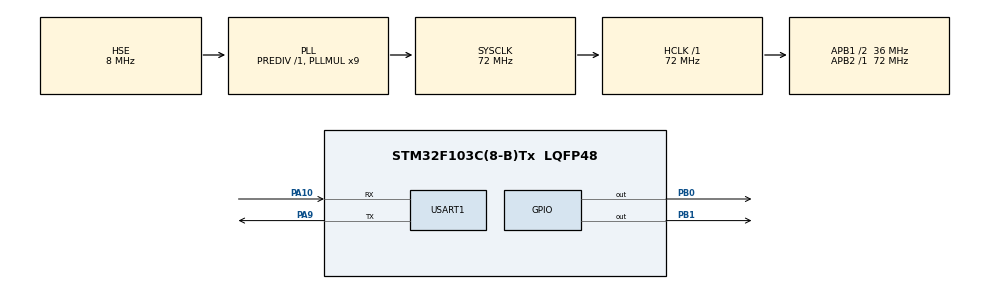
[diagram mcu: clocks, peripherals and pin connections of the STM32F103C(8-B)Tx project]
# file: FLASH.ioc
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FREERTOS.Tasks01=defaultTask,0,128,StartDefaultTask,Default,NULL
IWDG.Prescaler=IWDG_PRESCALER_16
Mcu.Family=STM32F1
Mcu.Name=STM32F103C(8-B)Tx
Mcu.Package=LQFP48
NVIC.PriorityGroup=NVIC_PRIORITYGROUP_4
PA10.Mode=Asynchronous
PA10.Signal=USART1_RX
PA13.Mode=Serial_Wire
PA13.Signal=SYS_JTMS-SWDIO
PA14.Mode=Serial_Wire
PA14.Signal=SYS_JTCK-SWCLK
PA9.Mode=Asynchronous
PA9.Signal=USART1_TX
PB0.GPIO_Speed=GPIO_SPEED_FREQ_MEDIUM
PB0.Signal=GPIO_Output
PB1.GPIO_PuPd=GPIO_NOPULL
PB1.GPIO_Speed=GPIO_SPEED_FREQ_MEDIUM
PB1.PinState=GPIO_PIN_SET
PB1.Signal=GPIO_Output
PD0-OSC_IN.Mode=HSE-External-Oscillator
PD0-OSC_IN.Signal=RCC_OSC_IN
PD1-OSC_OUT.Mode=HSE-External-Oscillator
PD1-OSC_OUT.Signal=RCC_OSC_OUT
ProjectManager.HeapSize=0x200
ProjectManager.StackSize=0x400
ProjectManager.TargetToolchain=MDK-ARM V5
RCC.AHBFreq_Value=72000000
RCC.APB1CLKDivider=RCC_HCLK_DIV2
RCC.APB1Freq_Value=36000000
RCC.APB1TimFreq_Value=72000000
RCC.APB2Freq_Value=72000000
RCC.APB2TimFreq_Value=72000000
RCC.HCLKFreq_Value=72000000
RCC.PLLMUL=RCC_PLL_MUL9
RCC.PLLSourceVirtual=RCC_PLLSOURCE_HSE
RCC.SYSCLKFreq_VALUE=72000000
RCC.SYSCLKSource=RCC_SYSCLKSOURCE_PLLCLK
RCC.USBFreq_Value=72000000
USART1.VirtualMode=VM_ASYNC
VP_FREERTOS_VS_ENABLE.Mode=Enabled
VP_IWDG_VS_IWDG.Mode=IWDG_Activate
board=custom

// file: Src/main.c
/**
  ******************************************************************************
  * @file           : main.c
  * @brief          : Main program body
  ******************************************************************************
  * This notice applies to any and all portions of this file
  * that are not between comment pairs USER CODE BEGIN and
  * USER CODE END. Other portions of this file, whether
  * inserted by the user or by software development tools
  * are owned by their respective copyright owners.
  *
  * Copyright (c) 2018 STMicroelectronics International N.V.
  * All rights reserved.
  *
  * Redistribution and use in source and binary forms, with or without
  * modification, are permitted, provided that the following conditions are met:
  *
  * 1. Redistribution of source code must retain the above copyright notice,
  *    this list of conditions and the following disclaimer.
  * 2. Redistributions in binary form must reproduce the above copyright notice,
  *    this list of conditions and the following disclaimer in the documentation
  *    and/or other materials provided with the distribution.
  * 3. Neither the name of STMicroelectronics nor the names of other
  *    contributors to this software may be used to endorse or promote products
  *    derived from this software without specific written permission.
  * 4. This software, including modifications and/or derivative works of this
  *    software, must execute solely and exclusively on microcontroller or
  *    microprocessor devices manufactured by or for STMicroelectronics.
  * 5. Redistribution and use of this software other than as permitted under
  *    this license is void and will automatically terminate your rights under
  *    this license.
  *
  * THIS SOFTWARE IS PROVIDED BY STMICROELECTRONICS AND CONTRIBUTORS "AS IS"
  * AND ANY EXPRESS, IMPLIED OR STATUTORY WARRANTIES, INCLUDING, BUT NOT
  * LIMITED TO, THE IMPLIED WARRANTIES OF MERCHANTABILITY, FITNESS FOR A
  * PARTICULAR PURPOSE AND NON-INFRINGEMENT OF THIRD PARTY INTELLECTUAL PROPERTY
  * RIGHTS ARE DISCLAIMED TO THE FULLEST EXTENT PERMITTED BY LAW. IN NO EVENT
  * SHALL STMICROELECTRONICS OR CONTRIBUTORS BE LIABLE FOR ANY DIRECT, INDIRECT,
  * INCIDENTAL, SPECIAL, EXEMPLARY, OR CONSEQUENTIAL DAMAGES (INCLUDING, BUT NOT
  * LIMITED TO, PROCUREMENT OF SUBSTITUTE GOODS OR SERVICES; LOSS OF USE, DATA,
  * OR PROFITS; OR BUSINESS INTERRUPTION) HOWEVER CAUSED AND ON ANY THEORY OF
  * LIABILITY, WHETHER IN CONTRACT, STRICT LIABILITY, OR TORT (INCLUDING
  * NEGLIGENCE OR OTHERWISE) ARISING IN ANY WAY OUT OF THE USE OF THIS SOFTWARE,
  * EVEN IF ADVISED OF THE POSSIBILITY OF SUCH DAMAGE.
  *
  ******************************************************************************
  */
#include "main.h"
#include "stm32f1xx_hal.h"
#include "cmsis_os.h"

/* USER CODE BEGIN Includes */
#define FLASH_USER_START_ADDR   ((uint32_t)0x0800FC00)
//#define FLASH_USER_END_ADDR     ((uint32_t)0x0800FC00) + 1024
#define FLASH_USER_END_ADDR     FLASH_USER_START_ADDR + 1024

#define DATA_32                 ((uint32_t)0x12345678)

void IwdgFeedTask(void const * argument);
void LedBlinkTask(void const * argument);
void UserInit(void);
/* USER CODE END Includes */

IWDG_HandleTypeDef hiwdg;

UART_HandleTypeDef huart1;

osThreadId defaultTaskHandle;

/* USER CODE BEGIN PV */
/* Private variables ---------------------------------------------------------*/
osThreadId iwdgFeedTaskHandle;
osThreadId ledBlinkTaskHandle;
/* USER CODE END PV */

void SystemClock_Config(void);
static void MX_GPIO_Init(void);
static void MX_IWDG_Init(void);
static void MX_USART1_UART_Init(void);
void StartDefaultTask(void const * argument);

/* USER CODE BEGIN PFP */
/* Private function prototypes -----------------------------------------------*/

/* USER CODE END PFP */

int main(void)
{

  /* MCU Configuration----------------------------------------------------------*/

  /* Reset of all peripherals, Initializes the Flash interface and the Systick. */
  HAL_Init();

  /* Configure the system clock */
  SystemClock_Config();

  /* Initialize all configured peripherals */
  MX_GPIO_Init();
  MX_IWDG_Init();
  MX_USART1_UART_Init();

  /* Create the thread(s) */
  /* definition and creation of defaultTask */
  osThreadDef(defaultTask, StartDefaultTask, osPriorityNormal, 0, 128);
  defaultTaskHandle = osThreadCreate(osThread(defaultTask), NULL);

  /* USER CODE BEGIN RTOS_THREADS */
  /* add threads, ... */
	osThreadDef(iwdgFeedTask, IwdgFeedTask, osPriorityNormal, 0, 128);
	iwdgFeedTaskHandle = osThreadCreate(osThread(iwdgFeedTask), NULL);
	osThreadDef(ledBlinkTask, LedBlinkTask, osPriorityNormal, 0, 128);
	ledBlinkTaskHandle = osThreadCreate(osThread(ledBlinkTask), NULL);

  /* USER CODE END RTOS_THREADS */

  /* Start scheduler */
  osKernelStart();

  /* We should never get here as control is now taken by the scheduler */

  /* Infinite loop */
  while (1)
  {

  }

}

void SystemClock_Config(void)
{

  RCC_OscInitTypeDef RCC_OscInitStruct;
  RCC_ClkInitTypeDef RCC_ClkInitStruct;

    /**Initializes the CPU, AHB and APB busses clocks
    */
  RCC_OscInitStruct.OscillatorType = RCC_OSCILLATORTYPE_LSI|RCC_OSCILLATORTYPE_HSE;
  RCC_OscInitStruct.HSEState = RCC_HSE_ON;
  RCC_OscInitStruct.HSEPredivValue = RCC_HSE_PREDIV_DIV1;
  RCC_OscInitStruct.HSIState = RCC_HSI_ON;
  RCC_OscInitStruct.LSIState = RCC_LSI_ON;
  RCC_OscInitStruct.PLL.PLLState = RCC_PLL_ON;
  RCC_OscInitStruct.PLL.PLLSource = RCC_PLLSOURCE_HSE;
  RCC_OscInitStruct.PLL.PLLMUL = RCC_PLL_MUL9;
  if (HAL_RCC_OscConfig(&RCC_OscInitStruct) != HAL_OK)
  {
    _Error_Handler(__FILE__, __LINE__);
  }

    /**Initializes the CPU, AHB and APB busses clocks
    */
  RCC_ClkInitStruct.ClockType = RCC_CLOCKTYPE_HCLK|RCC_CLOCKTYPE_SYSCLK
                              |RCC_CLOCKTYPE_PCLK1|RCC_CLOCKTYPE_PCLK2;
  RCC_ClkInitStruct.SYSCLKSource = RCC_SYSCLKSOURCE_PLLCLK;
  RCC_ClkInitStruct.AHBCLKDivider = RCC_SYSCLK_DIV1;
  RCC_ClkInitStruct.APB1CLKDivider = RCC_HCLK_DIV2;
  RCC_ClkInitStruct.APB2CLKDivider = RCC_HCLK_DIV1;

  if (HAL_RCC_ClockConfig(&RCC_ClkInitStruct, FLASH_LATENCY_2) != HAL_OK)
  {
    _Error_Handler(__FILE__, __LINE__);
  }

    /**Configure the Systick interrupt time
    */
  HAL_SYSTICK_Config(HAL_RCC_GetHCLKFreq()/1000);

    /**Configure the Systick
    */
  HAL_SYSTICK_CLKSourceConfig(SYSTICK_CLKSOURCE_HCLK);

  /* SysTick_IRQn interrupt configuration */
  HAL_NVIC_SetPriority(SysTick_IRQn, 15, 0);
}

/* IWDG init function */
static void MX_IWDG_Init(void)
{

  hiwdg.Instance = IWDG;
  hiwdg.Init.Prescaler = IWDG_PRESCALER_16;
  hiwdg.Init.Reload = 4095;
  if (HAL_IWDG_Init(&hiwdg) != HAL_OK)
  {
    _Error_Handler(__FILE__, __LINE__);
  }

}

/* USART1 init function */
static void MX_USART1_UART_Init(void)
{

  huart1.Instance = USART1;
  huart1.Init.BaudRate = 115200;
  huart1.Init.WordLength = UART_WORDLENGTH_8B;
  huart1.Init.StopBits = UART_STOPBITS_1;
  huart1.Init.Parity = UART_PARITY_NONE;
  huart1.Init.Mode = UART_MODE_TX_RX;
  huart1.Init.HwFlowCtl = UART_HWCONTROL_NONE;
  huart1.Init.OverSampling = UART_OVERSAMPLING_16;
  if (HAL_UART_Init(&huart1) != HAL_OK)
  {
    _Error_Handler(__FILE__, __LINE__);
  }

}

/** Configure pins as
        * Analog
        * Input
        * Output
        * EVENT_OUT
        * EXTI
*/
static void MX_GPIO_Init(void)
{

  GPIO_InitTypeDef GPIO_InitStruct;

  /* GPIO Ports Clock Enable */
  __HAL_RCC_GPIOD_CLK_ENABLE();
  __HAL_RCC_GPIOB_CLK_ENABLE();
  __HAL_RCC_GPIOA_CLK_ENABLE();

  /*Configure GPIO pin Output Level */
  HAL_GPIO_WritePin(GPIOB, GPIO_PIN_0, GPIO_PIN_RESET);

  /*Configure GPIO pin Output Level */
  HAL_GPIO_WritePin(GPIOB, GPIO_PIN_1, GPIO_PIN_SET);

  /*Configure GPIO pins : PB0 PB1 */
  GPIO_InitStruct.Pin = GPIO_PIN_0|GPIO_PIN_1;
  GPIO_InitStruct.Mode = GPIO_MODE_OUTPUT_PP;
  GPIO_InitStruct.Pull = GPIO_NOPULL;
  GPIO_InitStruct.Speed = GPIO_SPEED_FREQ_MEDIUM;
  HAL_GPIO_Init(GPIOB, &GPIO_InitStruct);

}

/* USER CODE BEGIN 4 */

/* Test Code */
void IwdgFeedTask(void const * argument)
{

  for(;;)
  {
    osDelay(500);
		HAL_IWDG_Refresh(&hiwdg);
  }

}

void LedBlinkTask(void const * argument)
{
	UserInit();
	for(;;)
	{
		osDelay(500);
		HAL_GPIO_WritePin(GPIOB, GPIO_PIN_1, GPIO_PIN_SET);
		osDelay(500);
		HAL_GPIO_WritePin(GPIOB, GPIO_PIN_1, GPIO_PIN_RESET);

	}

}

void UserInit(void)
{

	uint32_t Address = 0, PAGEError = 0;
	__IO uint32_t data32 = 0 , MemoryProgramStatus = 0;

	FLASH_EraseInitTypeDef EraseInitStruct;

	HAL_UART_Transmit(&huart1, (uint8_t *)"System Run...\r\n", sizeof("System Run...\r\n")-1, 1000);

	 /* Unlock the Flash to enable the flash control register access *************/
  HAL_FLASH_Unlock();

  /* Fill EraseInit structure*/
  EraseInitStruct.TypeErase   = FLASH_TYPEERASE_PAGES;
  EraseInitStruct.PageAddress = FLASH_USER_START_ADDR;
  EraseInitStruct.NbPages     = (FLASH_USER_END_ADDR - FLASH_USER_START_ADDR) / 1024;

  if (HAL_FLASHEx_Erase(&EraseInitStruct, &PAGEError) != HAL_OK)
  {
		HAL_UART_Transmit(&huart1, (uint8_t *)"erase error...\r\n", sizeof("erase error...\r\n")-1, 1000);
  }

  Address = FLASH_USER_START_ADDR;

  while (Address < FLASH_USER_END_ADDR)
  {
    if (HAL_FLASH_Program(FLASH_TYPEPROGRAM_WORD, Address, DATA_32) == HAL_OK)
    {
      Address = Address + 4;
    }
    else
    {
      HAL_UART_Transmit(&huart1, (uint8_t *)"program error...\r\n", sizeof("program error...\r\n")-1, 1000);
    }
  }

  /* Lock the Flash to disable the flash control register access (recommended
     to protect the FLASH memory against possible unwanted operation) *********/
  HAL_FLASH_Lock();

  /* Check if the programmed data is OK
      MemoryProgramStatus = 0: data programmed correctly
      MemoryProgramStatus != 0: number of words not programmed correctly ******/
  Address = FLASH_USER_START_ADDR;
  MemoryProgramStatus = 0x0;

  while (Address < FLASH_USER_END_ADDR)
  {
    data32 = *(__IO uint32_t *)Address;

    if (data32 != DATA_32)
    {
      MemoryProgramStatus++;
    }else
		{
			//HAL_UART_Transmit(&huart1, (uint8_t *)"program data32 OK...\r\n", sizeof("program data32 OK...\r\n")-1, 1000);
		}
    Address = Address + 4;
  }

  /*Check if there is an issue to program data*/
  if (MemoryProgramStatus == 0)
  {
    /* No error detected. Switch on LED2*/
    HAL_UART_Transmit(&huart1, (uint8_t *)"program OK...\r\n", sizeof("program OK...\r\n")-1, 1000);
  }
  else
  {
    HAL_UART_Transmit(&huart1, (uint8_t *)"data error...\r\n", sizeof("data error...\r\n")-1, 1000);
  }

}
/* end test code */

/* USER CODE END 4 */

/* StartDefaultTask function */
void StartDefaultTask(void const * argument)
{

  for(;;)
  {
    osDelay(1);
  }
}

void _Error_Handler(char *file, int line)
{
  while(1)
  {
  }
}

/************************ (C) COPYRIGHT STMicroelectronics *****END OF FILE****/
